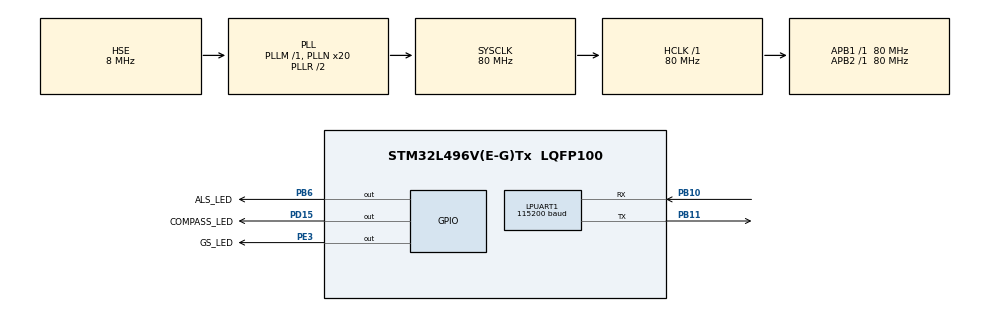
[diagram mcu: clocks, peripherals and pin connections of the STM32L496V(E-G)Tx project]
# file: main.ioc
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FREERTOS.MEMORY_ALLOCATION=2
FREERTOS.Tasks01=defaultTask,0,512,StartDefaultTask,Default,NULL,Static,defaultTaskBuffer,defaultTaskControlBlock
FREERTOS.configMAX_TASK_NAME_LEN=255
FREERTOS.configTOTAL_HEAP_SIZE=8000
FREERTOS.configUSE_TIMERS=1
LPUART1.BaudRate=115200
LPUART1.WordLength=UART_WORDLENGTH_8B
Mcu.Family=STM32L4
Mcu.Name=STM32L496V(E-G)Tx
Mcu.Package=LQFP100
NVIC.PriorityGroup=NVIC_PRIORITYGROUP_4
PA13\ (JTMS/SWDIO).Mode=Serial_Wire
PA13\ (JTMS/SWDIO).Signal=SYS_JTMS-SWDIO
PA14\ (JTCK/SWCLK).Mode=Serial_Wire
PA14\ (JTCK/SWCLK).Signal=SYS_JTCK-SWCLK
PB10.Mode=Asynchronous
PB10.Signal=LPUART1_RX
PB11.Mode=Asynchronous
PB11.Signal=LPUART1_TX
PB6.GPIO_Label=ALS_LED
PB6.GPIO_Speed=GPIO_SPEED_FREQ_VERY_HIGH
PB6.Signal=GPIO_Output
PD15.GPIO_Label=COMPASS_LED
PD15.GPIO_Speed=GPIO_SPEED_FREQ_VERY_HIGH
PD15.Signal=GPIO_Output
PE3.GPIO_Label=GS_LED
PE3.GPIO_Speed=GPIO_SPEED_FREQ_VERY_HIGH
PE3.Signal=GPIO_Output
PH0-OSC_IN\ (PH0).Mode=HSE-External-Oscillator
PH0-OSC_IN\ (PH0).Signal=RCC_OSC_IN
PH1-OSC_OUT\ (PH1).Mode=HSE-External-Oscillator
PH1-OSC_OUT\ (PH1).Signal=RCC_OSC_OUT
ProjectManager.HeapSize=0x200
ProjectManager.StackSize=0x400
ProjectManager.TargetToolchain=MDK-ARM V5
RCC.ADCFreq_Value=48000000
RCC.AHBFreq_Value=80000000
RCC.APB1Freq_Value=80000000
RCC.APB1TimFreq_Value=80000000
RCC.APB2Freq_Value=80000000
RCC.APB2TimFreq_Value=80000000
RCC.CortexFreq_Value=80000000
RCC.HCLKFreq_Value=80000000
RCC.HSE_VALUE=8000000
RCC.HSI48_VALUE=48000000
RCC.HSI_VALUE=16000000
RCC.LSE_VALUE=32768
RCC.MSI_VALUE=4000000
RCC.PLLN=20
RCC.PLLSAI1N=12
RCC.PLLSourceVirtual=RCC_PLLSOURCE_HSE
RCC.SYSCLKFreq_VALUE=80000000
RCC.SYSCLKSource=RCC_SYSCLKSOURCE_PLLCLK
RCC.USBFreq_Value=48000000
RCC.VCOOutputFreq_Value=160000000
VP_FREERTOS_VS_CMSIS_V1.Mode=CMSIS_V1
board=custom

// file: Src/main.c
/* USER CODE BEGIN Header */
/**
  ******************************************************************************
  * @file           : main.c
  * @brief          : Main program body
  ******************************************************************************
  * @attention
  *
  * <h2><center>&copy; Copyright (c) 2021 STMicroelectronics.
  * All rights reserved.</center></h2>
  *
  * This software component is licensed by ST under BSD 3-Clause license,
  * the "License"; You may not use this file except in compliance with the
  * License. You may obtain a copy of the License at:
  *                        opensource.org/licenses/BSD-3-Clause
  *
  ******************************************************************************
  */
/* USER CODE END Header */
#include "main.h"
#include "cmsis_os.h"
#include "usart.h"
#include "gpio.h"

void SystemClock_Config(void);
void MX_FREERTOS_Init(void);

int main(void)
{

  /* MCU Configuration--------------------------------------------------------*/

  /* Reset of all peripherals, Initializes the Flash interface and the Systick. */
  HAL_Init();

  /* Configure the system clock */
  SystemClock_Config();

  /* Initialize all configured peripherals */
  MX_GPIO_Init();
  MX_LPUART1_UART_Init();

  /* Call init function for freertos objects (in freertos.c) */
  MX_FREERTOS_Init();
  /* Start scheduler */
  osKernelStart();

  /* We should never get here as control is now taken by the scheduler */
  /* Infinite loop */
  while (1)
  {

  }
}

void SystemClock_Config(void)
{
  RCC_OscInitTypeDef RCC_OscInitStruct = {0};
  RCC_ClkInitTypeDef RCC_ClkInitStruct = {0};
  RCC_PeriphCLKInitTypeDef PeriphClkInit = {0};

  /** Initializes the RCC Oscillators according to the specified parameters
  * in the RCC_OscInitTypeDef structure.
  */
  RCC_OscInitStruct.OscillatorType = RCC_OSCILLATORTYPE_HSE;
  RCC_OscInitStruct.HSEState = RCC_HSE_ON;
  RCC_OscInitStruct.PLL.PLLState = RCC_PLL_ON;
  RCC_OscInitStruct.PLL.PLLSource = RCC_PLLSOURCE_HSE;
  RCC_OscInitStruct.PLL.PLLM = 1;
  RCC_OscInitStruct.PLL.PLLN = 20;
  RCC_OscInitStruct.PLL.PLLP = RCC_PLLP_DIV2;
  RCC_OscInitStruct.PLL.PLLQ = RCC_PLLQ_DIV2;
  RCC_OscInitStruct.PLL.PLLR = RCC_PLLR_DIV2;
  if (HAL_RCC_OscConfig(&RCC_OscInitStruct) != HAL_OK)
  {
    Error_Handler();
  }
  /** Initializes the CPU, AHB and APB buses clocks
  */
  RCC_ClkInitStruct.ClockType = RCC_CLOCKTYPE_HCLK|RCC_CLOCKTYPE_SYSCLK
                              |RCC_CLOCKTYPE_PCLK1|RCC_CLOCKTYPE_PCLK2;
  RCC_ClkInitStruct.SYSCLKSource = RCC_SYSCLKSOURCE_PLLCLK;
  RCC_ClkInitStruct.AHBCLKDivider = RCC_SYSCLK_DIV1;
  RCC_ClkInitStruct.APB1CLKDivider = RCC_HCLK_DIV1;
  RCC_ClkInitStruct.APB2CLKDivider = RCC_HCLK_DIV1;

  if (HAL_RCC_ClockConfig(&RCC_ClkInitStruct, FLASH_LATENCY_4) != HAL_OK)
  {
    Error_Handler();
  }
  PeriphClkInit.PeriphClockSelection = RCC_PERIPHCLK_LPUART1;
  PeriphClkInit.Lpuart1ClockSelection = RCC_LPUART1CLKSOURCE_PCLK1;
  if (HAL_RCCEx_PeriphCLKConfig(&PeriphClkInit) != HAL_OK)
  {
    Error_Handler();
  }
  /** Configure the main internal regulator output voltage
  */
  if (HAL_PWREx_ControlVoltageScaling(PWR_REGULATOR_VOLTAGE_SCALE1) != HAL_OK)
  {
    Error_Handler();
  }
}

void Error_Handler(void)
{
  __disable_irq();
  while (1)
  {
  }
}

/************************ (C) COPYRIGHT STMicroelectronics *****END OF FILE****/

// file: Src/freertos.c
/* USER CODE BEGIN Header */
/**
  ******************************************************************************
  * File Name          : freertos.c
  * Description        : Code for freertos applications
  ******************************************************************************
  * @attention
  *
  * <h2><center>&copy; Copyright (c) 2021 STMicroelectronics.
  * All rights reserved.</center></h2>
  *
  * This software component is licensed by ST under Ultimate Liberty license
  * SLA0044, the "License"; You may not use this file except in compliance with
  * the License. You may obtain a copy of the License at:
  *                             www.st.com/SLA0044
  *
  ******************************************************************************
  */
/* USER CODE END Header */

#include "FreeRTOS.h"
#include "task.h"
#include "main.h"
#include "cmsis_os.h"

/* USER CODE BEGIN Variables */
/*软件定时器*/
osTimerId led_blink_timer_id ;
void led_blink_callback(void const * argument);
osTimerDef(led_blink_timer_handle, led_blink_callback);

/*互斥量*/
osMutexId osMutex;
osMutexDef(osMutex);

/*消息队列*/
#define QUEUE_SIZE 10
osMessageQId osQueue ;
osMessageQDef(osqueue, QUEUE_SIZE, uint16_t);

/*信号量*/
osSemaphoreId  led_sem_id;
osSemaphoreDef(sync_sem);

/*LED线程*/
osThreadId LedTaskHandle;
uint32_t LedTaskBuffer[ 512 ];
osStaticThreadDef_t LedTaskControlBlock;

/*打印线程*/
osThreadId PrintfTaskHandle;
uint32_t PrintfTaskBuffer[ 512 ];
osStaticThreadDef_t PrintfTaskControlBlock;

/*生产者线程*/
osThreadId ProTaskHandle;
uint32_t ProTaskBuffer[ 512 ];
osStaticThreadDef_t ProTaskControlBlock;

/*消费者线程*/
osThreadId ConTaskHandle;
uint32_t ConTaskBuffer[ 512 ];
osStaticThreadDef_t ConTaskControlBlock;
/* USER CODE END Variables */
osThreadId defaultTaskHandle;
uint32_t defaultTaskBuffer[ 512 ];
osStaticThreadDef_t defaultTaskControlBlock;

/* USER CODE BEGIN FunctionPrototypes */
void StartLedTask(void const * argument);
void StartPrintfTask(void const * argument);

/*生产者*/
void StartProTask(void const * argument);
/*消费者*/
void StartConTask(void const * argument);
/* USER CODE END FunctionPrototypes */

void StartDefaultTask(void const * argument);

void MX_FREERTOS_Init(void); /* (MISRA C 2004 rule 8.1) */

/* GetIdleTaskMemory prototype (linked to static allocation support) */
void vApplicationGetIdleTaskMemory( StaticTask_t **ppxIdleTaskTCBBuffer, StackType_t **ppxIdleTaskStackBuffer, uint32_t *pulIdleTaskStackSize );

/* GetTimerTaskMemory prototype (linked to static allocation support) */
void vApplicationGetTimerTaskMemory( StaticTask_t **ppxTimerTaskTCBBuffer, StackType_t **ppxTimerTaskStackBuffer, uint32_t *pulTimerTaskStackSize );

/* USER CODE BEGIN GET_IDLE_TASK_MEMORY */
static StaticTask_t xIdleTaskTCBBuffer;
static StackType_t xIdleStack[configMINIMAL_STACK_SIZE];

void vApplicationGetIdleTaskMemory( StaticTask_t **ppxIdleTaskTCBBuffer, StackType_t **ppxIdleTaskStackBuffer, uint32_t *pulIdleTaskStackSize )
{
  *ppxIdleTaskTCBBuffer = &xIdleTaskTCBBuffer;
  *ppxIdleTaskStackBuffer = &xIdleStack[0];
  *pulIdleTaskStackSize = configMINIMAL_STACK_SIZE;
  /* place for user code */
}
/* USER CODE END GET_IDLE_TASK_MEMORY */

/* USER CODE BEGIN GET_TIMER_TASK_MEMORY */
static StaticTask_t xTimerTaskTCBBuffer;
static StackType_t xTimerStack[configTIMER_TASK_STACK_DEPTH];

void vApplicationGetTimerTaskMemory( StaticTask_t **ppxTimerTaskTCBBuffer, StackType_t **ppxTimerTaskStackBuffer, uint32_t *pulTimerTaskStackSize )
{
  *ppxTimerTaskTCBBuffer = &xTimerTaskTCBBuffer;
  *ppxTimerTaskStackBuffer = &xTimerStack[0];
  *pulTimerTaskStackSize = configTIMER_TASK_STACK_DEPTH;
  /* place for user code */
}
/* USER CODE END GET_TIMER_TASK_MEMORY */

void MX_FREERTOS_Init(void) {

  /* USER CODE BEGIN RTOS_MUTEX */
  /* add mutexes, ... */
	/*创建互斥量*/
	osMutex = osMutexCreate(osMutex(osMutex));
  /* USER CODE END RTOS_MUTEX */

  /* USER CODE BEGIN RTOS_SEMAPHORES */
  /* add semaphores, ... */
	/*创建一个LED闪烁的信号量*/
	led_sem_id = osSemaphoreCreate(osSemaphore(sync_sem), 1);
  /* USER CODE END RTOS_SEMAPHORES */

  /* USER CODE BEGIN RTOS_TIMERS */
  /* start timers, add new ones, ... */
	/*创建一个软件定时器===>osTimerPeriodic循环触发*/
	led_blink_timer_id = osTimerCreate(osTimer(led_blink_timer_handle),osTimerPeriodic,NULL);
  /* USER CODE END RTOS_TIMERS */

  /* USER CODE BEGIN RTOS_QUEUES */
  /* add queues, ... */
	/*创建消息队列*/
	osQueue = osMessageCreate (osMessageQ(osqueue), NULL);
  /* USER CODE END RTOS_QUEUES */

  /* Create the thread(s) */
  /* definition and creation of defaultTask */
  osThreadStaticDef(defaultTask, StartDefaultTask, osPriorityNormal, 0, 512, defaultTaskBuffer, &defaultTaskControlBlock);
  defaultTaskHandle = osThreadCreate(osThread(defaultTask), NULL);

}

void StartDefaultTask(void const * argument)
{
  /* USER CODE BEGIN StartDefaultTask */
	/*1、创建并启动LED线程*/
	osThreadStaticDef(ledTask, StartLedTask, osPriorityNormal, 0, 512, LedTaskBuffer, &LedTaskControlBlock);
  LedTaskHandle = osThreadCreate(osThread(ledTask), NULL);
	/*2、创建并启动打印线程*/
	osThreadStaticDef(PrintfTask, StartPrintfTask, osPriorityRealtime, 0, 512, PrintfTaskBuffer, &PrintfTaskControlBlock);
  PrintfTaskHandle = osThreadCreate(osThread(PrintfTask), NULL);
	/*3、创建并启动生产者线程*/
	osThreadStaticDef(ProTask, StartProTask, osPriorityAboveNormal, 0, 512, ProTaskBuffer, &ProTaskControlBlock);
  ProTaskHandle = osThreadCreate(osThread(ProTask), NULL);
	/*4、创建并启动消费者线程*/
	osThreadStaticDef(ConTask, StartConTask, osPriorityAboveNormal, 0, 512, ConTaskBuffer, &ConTaskControlBlock);
  ConTaskHandle = osThreadCreate(osThread(ConTask), NULL);
  /* Infinite loop */
  for(;;)
  {
		/*释放一个信号量*/
		osSemaphoreRelease(led_sem_id);
    osDelay(3000);
  }
  /* USER CODE END StartDefaultTask */
}

/* USER CODE BEGIN Application */
/*软件定时器回调函数*/
void led_blink_callback(void const * argument)
{
	HAL_GPIO_TogglePin(GS_LED_GPIO_Port,GS_LED_Pin);
}

/*LED线程*/
void StartLedTask(void const * argument)
{
	/*启动软件定时器，每200ms做一次翻转*/
	osTimerStart(led_blink_timer_id,200);
	for(;;)
	{
		osSemaphoreWait(led_sem_id,osWaitForever);
		HAL_GPIO_TogglePin(ALS_LED_GPIO_Port,ALS_LED_Pin);
	}
}

/*打印线程*/
void StartPrintfTask(void const * argument)
{
	uint32_t Count = 0 ;
	for(;;)
	{
		/*释放一个互斥量*/
		osMutexRelease(osMutex);
		Count++ ;
		printf("Count=%d\n",Count);
		/*等待一个互斥量*/
		osMutexWait(osMutex,osWaitForever);
		osDelay(1000);
	}
}

/*生产者*/
void StartProTask(void const * argument)
{
	static uint8_t  i = 0;
	uint32_t Probuffer[10] = {1,2,3,4,5,6,7,8,9,10};
	for(;;)
	{
		if(i > 9)
			i = 0 ;
		osMessagePut(osQueue,Probuffer[i],0);
		osDelay(1000);
		i++;
	}
}

/*消费者*/
void StartConTask(void const * argument)
{
	osEvent event ;
	for(;;)
	{
		event = osMessageGet(osQueue,osWaitForever);
		printf("获取数据event.value:%d\n",event.value.v);
		HAL_GPIO_TogglePin(COMPASS_LED_GPIO_Port,COMPASS_LED_Pin);
	}
}
/* USER CODE END Application */

/************************ (C) COPYRIGHT STMicroelectronics *****END OF FILE****/
